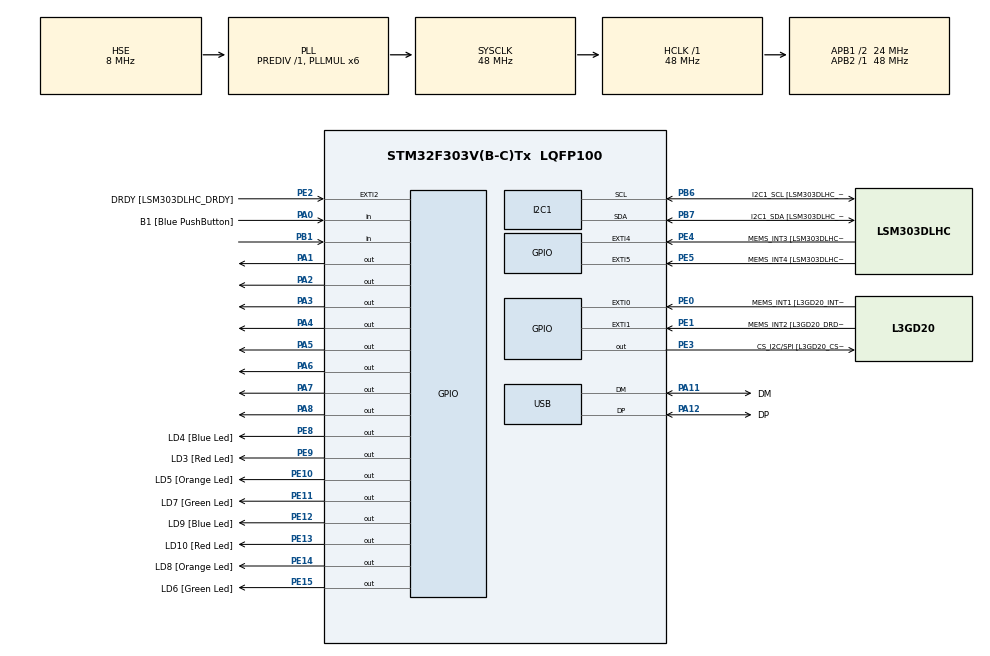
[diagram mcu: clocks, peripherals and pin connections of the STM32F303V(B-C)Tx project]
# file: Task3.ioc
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I2C1.Timing=0x2000090E
I2C1.Timing-I2C=0x2000090E
Mcu.Family=STM32F3
Mcu.Name=STM32F303V(B-C)Tx
Mcu.Package=LQFP100
NVIC.PriorityGroup=NVIC_PRIORITYGROUP_0
PA0.GPIO_Label=B1 [Blue PushButton]
PA0.Signal=GPIO_Input
PA1.Signal=GPIO_Output
PA11.GPIO_Label=DM
PA11.Mode=Device
PA11.Signal=USB_DM
PA12.GPIO_Label=DP
PA12.Mode=Device
PA12.Signal=USB_DP
PA13.GPIO_Label=SWDIO
PA13.Mode=Serial_Wire
PA13.Signal=SYS_JTMS-SWDIO
PA14.GPIO_Label=SWCLK
PA14.Mode=Serial_Wire
PA14.Signal=SYS_JTCK-SWCLK
PA2.Signal=GPIO_Output
PA3.Signal=GPIO_Output
PA4.Signal=GPIO_Output
PA5.Signal=GPIO_Output
PA6.Signal=GPIO_Output
PA7.Signal=GPIO_Output
PA8.Signal=GPIO_Output
PB1.Signal=GPIO_Input
PB3.GPIO_Label=SWO
PB3.Signal=SYS_JTDO-TRACESWO
PB6.GPIO_Label=I2C1_SCL [LSM303DLHC_SCL]
PB6.GPIO_Pu=GPIO_PULLUP
PB6.Mode=I2C
PB6.Signal=I2C1_SCL
PB7.GPIO_Label=I2C1_SDA [LSM303DLHC_SDA]
PB7.GPIO_Pu=GPIO_PULLUP
PB7.Mode=I2C
PB7.Signal=I2C1_SDA
PC14-OSC32_IN.GPIO_Label=OSC32_IN
PC14-OSC32_IN.Signal=RCC_OSC32_IN
PC15-OSC32_OUT.GPIO_Label=OSC32_OUT
PC15-OSC32_OUT.Signal=RCC_OSC32_OUT
PE0.GPIO_Label=MEMS_INT1 [L3GD20_INT1]
PE0.GPIO_ModeDefaultEXTI=GPIO_MODE_EVT_RISING
PE0.Signal=GPXTI0
PE1.GPIO_Label=MEMS_INT2 [L3GD20_DRDY/INT2]
PE1.GPIO_ModeDefaultEXTI=GPIO_MODE_EVT_RISING
PE1.Signal=GPXTI1
PE10.GPIO_Label=LD5 [Orange Led]
PE10.Signal=GPIO_Output
PE11.GPIO_Label=LD7 [Green Led]
PE11.Signal=GPIO_Output
PE12.GPIO_Label=LD9 [Blue Led]
PE12.Signal=GPIO_Output
PE13.GPIO_Label=LD10 [Red Led]
PE13.Signal=GPIO_Output
PE14.GPIO_Label=LD8 [Orange Led]
PE14.Signal=GPIO_Output
PE15.GPIO_Label=LD6 [Green Led]
PE15.Signal=GPIO_Output
PE2.GPIO_Label=DRDY [LSM303DLHC_DRDY]
PE2.GPIO_ModeDefaultEXTI=GPIO_MODE_EVT_RISING
PE2.Signal=GPXTI2
PE3.GPIO_Label=CS_I2C/SPI [L3GD20_CS_I2C/SPI]
PE3.Signal=GPIO_Output
PE4.GPIO_Label=MEMS_INT3 [LSM303DLHC_INT1]
PE4.GPIO_ModeDefaultEXTI=GPIO_MODE_EVT_RISING
PE4.Signal=GPXTI4
PE5.GPIO_Label=MEMS_INT4 [LSM303DLHC_INT2]
PE5.GPIO_ModeDefaultEXTI=GPIO_MODE_EVT_RISING
PE5.Signal=GPXTI5
PE8.GPIO_Label=LD4 [Blue Led]
PE8.Signal=GPIO_Output
PE9.GPIO_Label=LD3 [Red Led]
PE9.Signal=GPIO_Output
PF0-OSC_IN.GPIO_Label=OSC_IN
PF0-OSC_IN.Mode=HSE-External-Clock-Source
PF0-OSC_IN.Signal=RCC_OSC_IN
PF1-OSC_OUT.GPIO_Label=OSC_OUT
PF1-OSC_OUT.Signal=RCC_OSC_OUT
ProjectManager.HeapSize=0x200
ProjectManager.StackSize=0x400
ProjectManager.TargetToolchain=CMake
RCC.AHBFreq_Value=48000000
RCC.APB1CLKDivider=RCC_HCLK_DIV2
RCC.APB1Freq_Value=24000000
RCC.APB1TimFreq_Value=48000000
RCC.APB2Freq_Value=48000000
RCC.APB2TimFreq_Value=48000000
RCC.CortexFreq_Value=48000000
RCC.HCLKFreq_Value=48000000
RCC.HSE_VALUE=8000000
RCC.HSI_VALUE=8000000
RCC.LSE_VALUE=32768
RCC.PLLMUL=RCC_PLL_MUL6
RCC.SYSCLKFreq_VALUE=48000000
RCC.SYSCLKSourceVirtual=RCC_SYSCLKSOURCE_PLLCLK
RCC.USBFreq_Value=48000000
board=STM32F3DISCOVERY

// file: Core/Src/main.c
/* USER CODE BEGIN Header */
/**
  ******************************************************************************
  * @file           : main.c
  * @brief          : Main program body
  ******************************************************************************
  * @attention
  *
  * Copyright (c) 2026 STMicroelectronics.
  * All rights reserved.
  *
  * This software is licensed under terms that can be found in the LICENSE file
  * in the root directory of this software component.
  * If no LICENSE file comes with this software, it is provided AS-IS.
  *
  ******************************************************************************
  */
/* USER CODE END Header */
#include "main.h"

/* USER CODE BEGIN PD */
void display_number( int8_t num) {
  // Lookup table of 8-bit binary segment patterns for 0 to F

    int16_t pins[7] = {GPIO_PIN_1, GPIO_PIN_2, GPIO_PIN_3, GPIO_PIN_4, GPIO_PIN_5, GPIO_PIN_6, GPIO_PIN_7};
    uint8_t segment_map [16] = {
      0b1000000,
      0b1111001,
      0b0100100,
      0b0110000,
      0b0011001,
      0b0010010,
      0b0000010,
      0b1111000,
      0b0000000,
      0b0010000,
      0b0001000,
      0b0000011,
      0b1000110,
      0b0100001,
      0b0000110,
      0b0001110,
    };
    uint8_t pattern = segment_map[num];

    for (int i = 0; i < 7; i++)
    {
      HAL_GPIO_WritePin (GPIOA, pins[i], ( pattern >> i) & 1);
    }
  }
/* USER CODE END PD */

I2C_HandleTypeDef hi2c1;

PCD_HandleTypeDef hpcd_USB_FS;

void SystemClock_Config(void);
static void MX_GPIO_Init(void);
static void MX_I2C1_Init(void);
static void MX_USB_PCD_Init(void);

int main(void)
{

  /* MCU Configuration--------------------------------------------------------*/

  /* Reset of all peripherals, Initializes the Flash interface and the Systick. */
  HAL_Init();

  /* Configure the system clock */
  SystemClock_Config();

  /* Initialize all configured peripherals */
  MX_GPIO_Init();
  MX_I2C1_Init();
  MX_USB_PCD_Init();

  /* Infinite loop */
  /* USER CODE BEGIN WHILE */
  int display = 0;
  HAL_GPIO_WritePin(GPIOA, GPIO_PIN_8, 1);
  display_number(display);
  while (1)
  {
    /* USER CODE END WHILE */
    if(HAL_GPIO_ReadPin(GPIOA , GPIO_PIN_0))
      {
        if (display < 15) display++;
        display_number(display);
        HAL_Delay(1000);
      }
    else if((HAL_GPIO_ReadPin(GPIOB , GPIO_PIN_1)) == GPIO_PIN_SET)
      {
        if (display > 0) display--;
        display_number(display);
        HAL_Delay(1000);
      }
  }
}

void SystemClock_Config(void)
{
  RCC_OscInitTypeDef RCC_OscInitStruct = {0};
  RCC_ClkInitTypeDef RCC_ClkInitStruct = {0};
  RCC_PeriphCLKInitTypeDef PeriphClkInit = {0};

  /** Initializes the RCC Oscillators according to the specified parameters
  * in the RCC_OscInitTypeDef structure.
  */
  RCC_OscInitStruct.OscillatorType = RCC_OSCILLATORTYPE_HSI|RCC_OSCILLATORTYPE_HSE;
  RCC_OscInitStruct.HSEState = RCC_HSE_BYPASS;
  RCC_OscInitStruct.HSEPredivValue = RCC_HSE_PREDIV_DIV1;
  RCC_OscInitStruct.HSIState = RCC_HSI_ON;
  RCC_OscInitStruct.HSICalibrationValue = RCC_HSICALIBRATION_DEFAULT;
  RCC_OscInitStruct.PLL.PLLState = RCC_PLL_ON;
  RCC_OscInitStruct.PLL.PLLSource = RCC_PLLSOURCE_HSE;
  RCC_OscInitStruct.PLL.PLLMUL = RCC_PLL_MUL6;
  if (HAL_RCC_OscConfig(&RCC_OscInitStruct) != HAL_OK)
  {
    Error_Handler();
  }

  /** Initializes the CPU, AHB and APB buses clocks
  */
  RCC_ClkInitStruct.ClockType = RCC_CLOCKTYPE_HCLK|RCC_CLOCKTYPE_SYSCLK
                              |RCC_CLOCKTYPE_PCLK1|RCC_CLOCKTYPE_PCLK2;
  RCC_ClkInitStruct.SYSCLKSource = RCC_SYSCLKSOURCE_PLLCLK;
  RCC_ClkInitStruct.AHBCLKDivider = RCC_SYSCLK_DIV1;
  RCC_ClkInitStruct.APB1CLKDivider = RCC_HCLK_DIV2;
  RCC_ClkInitStruct.APB2CLKDivider = RCC_HCLK_DIV1;

  if (HAL_RCC_ClockConfig(&RCC_ClkInitStruct, FLASH_LATENCY_1) != HAL_OK)
  {
    Error_Handler();
  }
  PeriphClkInit.PeriphClockSelection = RCC_PERIPHCLK_USB|RCC_PERIPHCLK_I2C1;
  PeriphClkInit.I2c1ClockSelection = RCC_I2C1CLKSOURCE_HSI;
  PeriphClkInit.USBClockSelection = RCC_USBCLKSOURCE_PLL;
  if (HAL_RCCEx_PeriphCLKConfig(&PeriphClkInit) != HAL_OK)
  {
    Error_Handler();
  }
}

static void MX_I2C1_Init(void)
{

  hi2c1.Instance = I2C1;
  hi2c1.Init.Timing = 0x2000090E;
  hi2c1.Init.OwnAddress1 = 0;
  hi2c1.Init.AddressingMode = I2C_ADDRESSINGMODE_7BIT;
  hi2c1.Init.DualAddressMode = I2C_DUALADDRESS_DISABLE;
  hi2c1.Init.OwnAddress2 = 0;
  hi2c1.Init.OwnAddress2Masks = I2C_OA2_NOMASK;
  hi2c1.Init.GeneralCallMode = I2C_GENERALCALL_DISABLE;
  hi2c1.Init.NoStretchMode = I2C_NOSTRETCH_DISABLE;
  if (HAL_I2C_Init(&hi2c1) != HAL_OK)
  {
    Error_Handler();
  }

  /** Configure Analogue filter
  */
  if (HAL_I2CEx_ConfigAnalogFilter(&hi2c1, I2C_ANALOGFILTER_ENABLE) != HAL_OK)
  {
    Error_Handler();
  }

  /** Configure Digital filter
  */
  if (HAL_I2CEx_ConfigDigitalFilter(&hi2c1, 0) != HAL_OK)
  {
    Error_Handler();
  }

}

static void MX_USB_PCD_Init(void)
{

  hpcd_USB_FS.Instance = USB;
  hpcd_USB_FS.Init.dev_endpoints = 8;
  hpcd_USB_FS.Init.speed = PCD_SPEED_FULL;
  hpcd_USB_FS.Init.phy_itface = PCD_PHY_EMBEDDED;
  hpcd_USB_FS.Init.low_power_enable = DISABLE;
  hpcd_USB_FS.Init.battery_charging_enable = DISABLE;
  if (HAL_PCD_Init(&hpcd_USB_FS) != HAL_OK)
  {
    Error_Handler();
  }

}

static void MX_GPIO_Init(void)
{
  GPIO_InitTypeDef GPIO_InitStruct = {0};

  /* GPIO Ports Clock Enable */
  __HAL_RCC_GPIOE_CLK_ENABLE();
  __HAL_RCC_GPIOC_CLK_ENABLE();
  __HAL_RCC_GPIOF_CLK_ENABLE();
  __HAL_RCC_GPIOA_CLK_ENABLE();
  __HAL_RCC_GPIOB_CLK_ENABLE();

  /*Configure GPIO pin Output Level */
  HAL_GPIO_WritePin(GPIOE, CS_I2C_SPI_Pin|LD4_Pin|LD3_Pin|LD5_Pin
                          |LD7_Pin|LD9_Pin|LD10_Pin|LD8_Pin
                          |LD6_Pin, GPIO_PIN_RESET);

  /*Configure GPIO pin Output Level */
  HAL_GPIO_WritePin(GPIOA, GPIO_PIN_1|GPIO_PIN_2|GPIO_PIN_3|GPIO_PIN_4
                          |GPIO_PIN_5|GPIO_PIN_6|GPIO_PIN_7|GPIO_PIN_8, GPIO_PIN_RESET);

  /*Configure GPIO pins : DRDY_Pin MEMS_INT3_Pin MEMS_INT4_Pin MEMS_INT1_Pin
                           MEMS_INT2_Pin */
  GPIO_InitStruct.Pin = DRDY_Pin|MEMS_INT3_Pin|MEMS_INT4_Pin|MEMS_INT1_Pin
                          |MEMS_INT2_Pin;
  GPIO_InitStruct.Mode = GPIO_MODE_EVT_RISING;
  GPIO_InitStruct.Pull = GPIO_NOPULL;
  HAL_GPIO_Init(GPIOE, &GPIO_InitStruct);

  /*Configure GPIO pins : CS_I2C_SPI_Pin LD4_Pin LD3_Pin LD5_Pin
                           LD7_Pin LD9_Pin LD10_Pin LD8_Pin
                           LD6_Pin */
  GPIO_InitStruct.Pin = CS_I2C_SPI_Pin|LD4_Pin|LD3_Pin|LD5_Pin
                          |LD7_Pin|LD9_Pin|LD10_Pin|LD8_Pin
                          |LD6_Pin;
  GPIO_InitStruct.Mode = GPIO_MODE_OUTPUT_PP;
  GPIO_InitStruct.Pull = GPIO_NOPULL;
  GPIO_InitStruct.Speed = GPIO_SPEED_FREQ_LOW;
  HAL_GPIO_Init(GPIOE, &GPIO_InitStruct);

  /*Configure GPIO pin : B1_Pin */
  GPIO_InitStruct.Pin = B1_Pin;
  GPIO_InitStruct.Mode = GPIO_MODE_INPUT;
  GPIO_InitStruct.Pull = GPIO_NOPULL;
  HAL_GPIO_Init(B1_GPIO_Port, &GPIO_InitStruct);

  /*Configure GPIO pins : PA1 PA2 PA3 PA4
                           PA5 PA6 PA7 PA8 */
  GPIO_InitStruct.Pin = GPIO_PIN_1|GPIO_PIN_2|GPIO_PIN_3|GPIO_PIN_4
                          |GPIO_PIN_5|GPIO_PIN_6|GPIO_PIN_7|GPIO_PIN_8;
  GPIO_InitStruct.Mode = GPIO_MODE_OUTPUT_PP;
  GPIO_InitStruct.Pull = GPIO_NOPULL;
  GPIO_InitStruct.Speed = GPIO_SPEED_FREQ_LOW;
  HAL_GPIO_Init(GPIOA, &GPIO_InitStruct);

  /*Configure GPIO pin : PB1 */
  GPIO_InitStruct.Pin = GPIO_PIN_1;
  GPIO_InitStruct.Mode = GPIO_MODE_INPUT;
  GPIO_InitStruct.Pull = GPIO_NOPULL;
  HAL_GPIO_Init(GPIOB, &GPIO_InitStruct);

}

void Error_Handler(void)
{
  __disable_irq();
  while (1)
  {
  }
}
